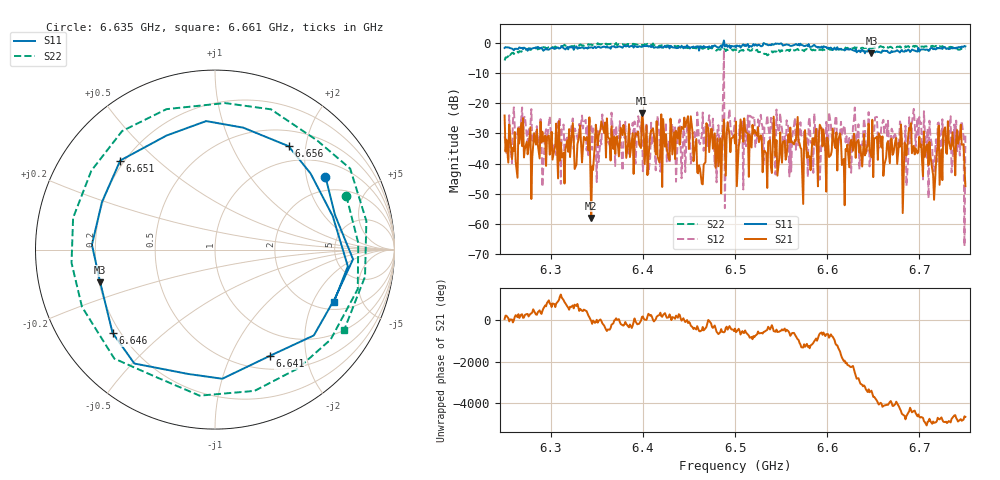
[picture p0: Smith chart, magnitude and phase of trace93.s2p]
# Hz S RI R 50
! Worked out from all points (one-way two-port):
!   401 points, 6.25 GHz to 6.75 GHz, reference 50 ohm
!   highest |S21| = -23.29 dB at 6.399 GHz (marker M1); lowest = -58.0 dB at 6.344 GHz (marker M2)
!   lowest |S11| = -3.5 dB at 6.648 GHz (marker M3), VSWR 4.97, Z = 10.2 - j6.73 ohm
!   |S11| at or under -10 dB: nowhere
!   |S22| runs from -5.9 to -0.1 dB; largest |S21 - S12| = 0.8
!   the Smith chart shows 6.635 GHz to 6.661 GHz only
!   S11 on the Smith chart (normalised r, x): 6.635 GHz: 1.45, +2.59; 6.641 GHz: 0.67, -1.42; 6.646 GHz: 0.17, -0.35; 6.651 GHz: 0.18, +0.38; 6.656 GHz: 0.73, +1.69; 6.661 GHz: 2.40, -2.94
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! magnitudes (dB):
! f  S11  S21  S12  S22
! 6.25 GHz  -1.8  -24.1  -31.0  -5.9
! 6.334 GHz  -1.6  -39.6  -24.1  -0.9
! 6.344 GHz  -1.6  -58.0  -27.2  -0.6
! 6.356 GHz  -1.5  -27.3  -23.8  -0.5
! 6.399 GHz  -1.4  -23.3  -25.0  -0.8
! 6.418 GHz  -1.6  -39.6  -30.6  -1.0
! 6.446 GHz  -1.7  -27.9  -42.8  -1.6
! 6.462 GHz  -1.2  -41.6  -33.6  -1.3
! 6.471 GHz  -1.5  -28.3  -27.2  -2.2
! 6.5 GHz  -1.1  -33.4  -24.9  -2.4
! 6.584 GHz  -1.3  -31.6  -33.7  -2.6
! 6.635 GHz  -2.6  -36.4  -41.9  -2.0
! 6.641 GHz  -3.5  -37.3  -27.7  -1.8
! 6.646 GHz  -2.7  -35.6  -40.9  -1.9
! 6.648 GHz  -3.5  -37.9  -35.4  -1.9
! 6.651 GHz  -2.8  -31.7  -29.6  -1.5
! 6.656 GHz  -3.0  -30.0  -34.8  -1.6
! 6.661 GHz  -2.8  -44.1  -25.5  -1.4
! 6.668 GHz  -3.5  -39.9  -39.4  -1.4
! 6.715 GHz  -2.2  -43.8  -41.8  -1.2
! 6.742 GHz  -1.5  -33.5  -29.3  -2.3
! 6.75 GHz  -1.2  -47.5  -30.7  -2.0
